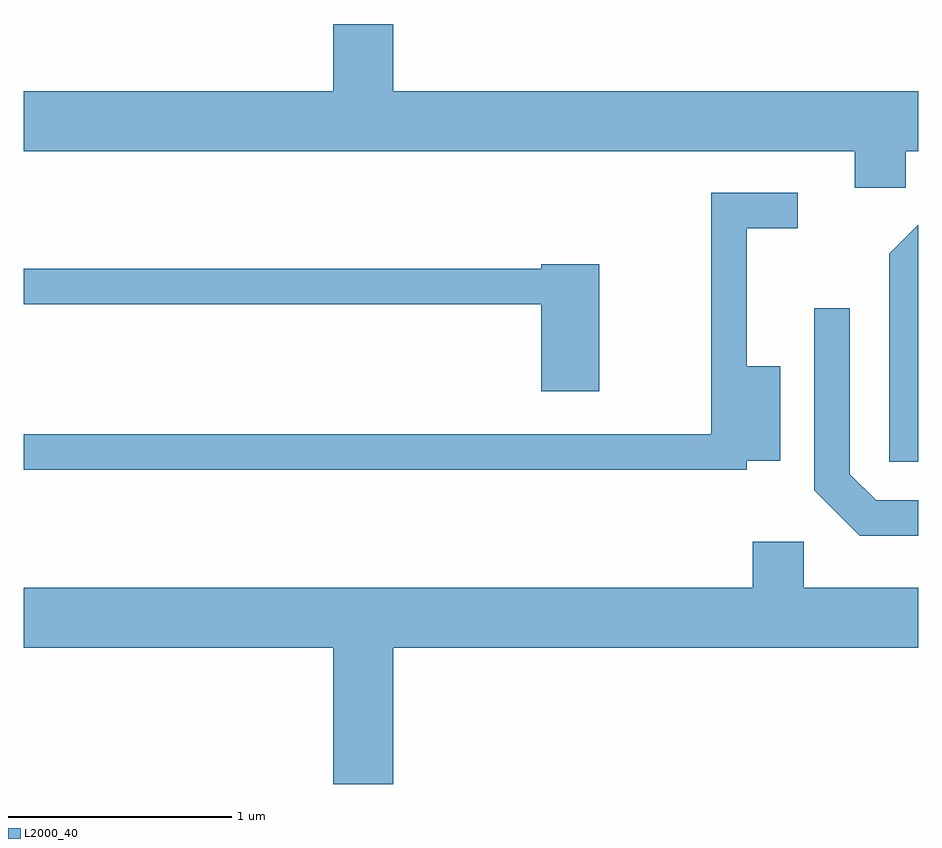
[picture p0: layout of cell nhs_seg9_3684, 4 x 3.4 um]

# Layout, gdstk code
import gdstk
lib = gdstk.Library(unit=1e-6, precision=1e-09)
def P(c, l, *ps):  # polygons
    for p in ps: c.add(gdstk.Polygon(p, *l))
L2000_40 = (2000, 40)

nhs_seg9_3684 = lib.new_cell('nhs_seg9_3684')
P(nhs_seg9_3684, L2000_40, [(297.554,1987.376),(297.611,1987.376),(297.611,1987.644),(295.264,1987.644),(295.264,1987.944),(294.996,1987.944),(294.996,1987.644),(293.611,1987.644),(293.611,1987.376),(297.326,1987.376),(297.326,1987.211),(297.554,1987.211)],
  [(296.844,1985.991),(296.994,1985.991),(296.994,1986.414),(296.844,1986.414),(296.844,1987.031),(297.073,1987.031),(297.073,1987.189),(296.686,1987.189),(296.686,1986.109),(293.611,1986.109),(293.611,1985.951),(296.844,1985.951)],
  [(297.611,1987.047),(297.481,1986.917),(297.481,1985.986),(297.611,1985.986)],
  [(296.184,1986.869),(295.926,1986.869),(295.926,1986.849),(293.611,1986.849),(293.611,1986.691),(295.926,1986.691),(295.926,1986.301),(296.184,1986.301)],
  [(297.611,1985.814),(297.422,1985.814),(297.304,1985.932),(297.304,1986.673),(297.146,1986.673),(297.146,1985.859),(297.349,1985.656),(297.611,1985.656)],
  [(295.264,1985.156),(297.611,1985.156),(297.611,1985.424),(297.099,1985.424),(297.099,1985.629),(296.871,1985.629),(296.871,1985.424),(293.611,1985.424),(293.611,1985.156),(294.996,1985.156),(294.996,1984.546),(295.264,1984.546)])

lib.write_gds('nhs_seg9_3684.gds')
